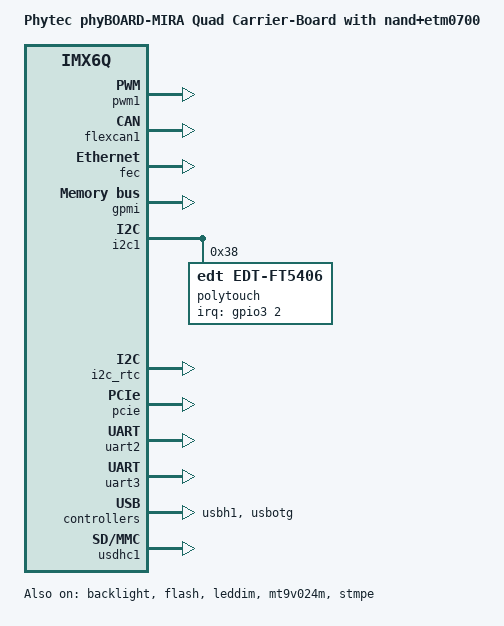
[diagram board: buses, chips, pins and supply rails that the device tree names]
/*
 * Copyright (C) 2015 PHYTEC Messtechnik
 * Author: Matthias Rabe <matthias.rabe@sigma-chemnitz.de>
 *
 * The code contained herein is licensed under the GNU General Public
 * License. You may obtain a copy of the GNU General Public License
 * Version 2 or later at the following locations:
 *
 * http://www.opensource.org/licenses/gpl-license.html
 * http://www.gnu.org/copyleft/gpl.html
 */

/dts-v1/;
#include "imx6q.dtsi"
#include "imx6qdl-phytec-phycore-som.dtsi"
#include "imx6qdl-phytec-mira.dtsi"
#include "imx6qdl-phytec-mira-peb-eval-01.dtsi"

/ {
	model = "Phytec phyBOARD-MIRA Quad Carrier-Board with nand+etm0700";
	model-short = "miraq";
	compatible = "phytec,imx6q-pbac06", "phytec,imx6qdl-pcm058", "fsl,imx6q";

	aliases {
		ipu1 = &ipu2;
	};

	chosen {
		linux,stdout-path = &uart2;
	};

	mxcfb1: fb@0 {
		disp_dev = "lcd";
		interface_pix_fmt = "RGB24";
		mode_str = "ETM0700";
		default_bpp = <16>;
		int_clk = <0>;
		late_init = <0>;
		status = "okay";
	};

	lcd@0 {
		compatible = "fsl,lcd";
		ipu_id = <0>;
		disp_id = <0>;
		default_ifmt = "RGB24";
		pinctrl-names = "default";
		pinctrl-0 = <&pinctrl_ipu1_1>;
		status = "okay";
	};
};

&iomuxc {
	imx6qdl-phytec-phyboard-mira {
		pinctrl_lcd_en_switch: lcdenswitchgrp {
			fsl,pins = <
				MX6QDL_PAD_EIM_D22__GPIO3_IO22	0x80000000
			>;
		};
	};

	imx6qdl-phytec-phyboard-edt-ft5x06 {
		pinctrl_edt_ft5x06: edt_ft5x06grp {
			fsl,pins = <
				MX6QDL_PAD_EIM_DA2__GPIO3_IO02	0x1b0b0
			>;
		};
	};
};

&pwm1 {
	status = "okay";
};

&backlight {
	pinctrl-names = "default";
	pinctrl-0 = <&pinctrl_lcd_en_switch>;

	compatible = "pwm-backlight";
	pwms = <&pwm1 0 50000>;
	brightness-levels = <
		0  /*1  2  3  4  5  6*/  7  8  9
		10 11 12 13 14 15 16 17 18 19
		20 21 22 23 24 25 26 27 28 29
		30 31 32 33 34 35 36 37 38 39
		40 41 42 43 44 45 46 47 48 49
		50 51 52 53 54 55 56 57 58 59
		60 61 62 63 64 65 66 67 68 69
		70 71 72 73 74 75 76 77 78 79
		80 81 82 83 84 85 86 87 88 89
		90 91 92 93 94 95 96 97 98 99
		100
	>;
	default-brightness-level = <94>;
	enable-gpios = <&gpio1 9>;
	binary-gpios = <&gpio3 22 0>; /* on or off -> depends on brightness */
	power-supply = <&lcd_3v3>;
	status = "okay";
};

&flexcan1 {
	status = "okay";
};

&fec {
	status = "okay";
};

&flash {
	status = "okay";
};

&gpmi {
	status = "okay";
};

&i2c1 {
	status = "okay";

	polytouch: edt-ft5x06@38 {
		compatible = "edt,edt-ft5406";
		reg = <0x38>;
		pinctrl-names = "default";
		pinctrl-0 = <&pinctrl_edt_ft5x06>;
		interrupt-parent = <&gpio3>;
		interrupts = <2 0>;
	};
};

&i2c_rtc {
	status = "okay";
};

&leddim {
	status = "okay";
};

&mt9v024m {
	status = "okay";
};

&pcie {
	status = "okay";
};

&stmpe {
	status = "okay";
};

&uart2 {
	status = "okay";
};

&uart3 {
	status = "okay";
};

&usbh1 {
	status = "okay";
};

&usbotg {
	status = "okay";
};

&usdhc1 {
	status = "okay";
};
